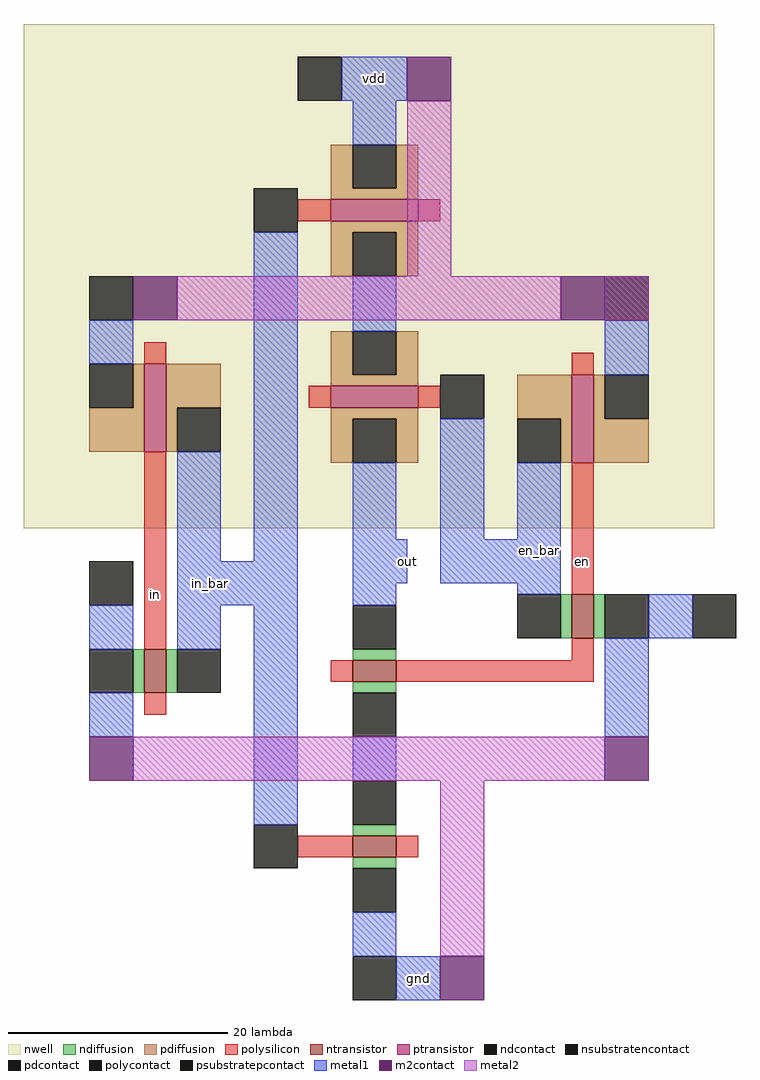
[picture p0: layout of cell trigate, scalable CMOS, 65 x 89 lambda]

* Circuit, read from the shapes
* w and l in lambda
.subckt trigate en en_bar gnd in in_bar out vdd
M1 in_bar in gnd gnd nfet w=4 l=2
M2 n1 in_bar gnd gnd nfet w=4 l=2
M3 out en n1 gnd nfet w=4 l=2
M4 gnd en en_bar gnd nfet w=4 l=2
M5 in_bar in vdd vdd pfet w=8 l=2
M6 n2 en_bar out vdd pfet w=8 l=2
M7 vdd in_bar n2 vdd pfet w=8 l=2
M8 vdd en en_bar vdd pfet w=8 l=2
.ends

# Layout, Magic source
magic
tech scmos
<< nwell >>
rect 1 -24 64 22
<< ntransistor >>
rect 51 -34 53 -30
rect 12 -39 14 -35
rect 31 -38 35 -36
rect 31 -54 35 -52
<< ptransistor >>
rect 29 4 37 6
rect 12 -17 14 -9
rect 29 -13 37 -11
rect 51 -18 53 -10
<< ndiffusion >>
rect 50 -34 51 -30
rect 53 -34 54 -30
rect 11 -39 12 -35
rect 14 -39 15 -35
rect 31 -36 35 -35
rect 31 -39 35 -38
rect 31 -52 35 -51
rect 31 -55 35 -54
<< pdiffusion >>
rect 29 7 31 11
rect 35 7 37 11
rect 29 6 37 7
rect 29 3 37 4
rect 29 -1 31 3
rect 35 -1 37 3
rect 11 -13 12 -9
rect 7 -17 12 -13
rect 14 -13 19 -9
rect 29 -10 31 -6
rect 35 -10 37 -6
rect 29 -11 37 -10
rect 14 -17 15 -13
rect 29 -14 37 -13
rect 46 -14 51 -10
rect 29 -18 31 -14
rect 35 -18 37 -14
rect 50 -18 51 -14
rect 53 -14 54 -10
rect 53 -18 58 -14
<< ndcontact >>
rect 31 -35 35 -31
rect 46 -34 50 -30
rect 54 -34 58 -30
rect 7 -39 11 -35
rect 15 -39 19 -35
rect 31 -43 35 -39
rect 31 -51 35 -47
rect 31 -59 35 -55
<< pdcontact >>
rect 31 7 35 11
rect 31 -1 35 3
rect 7 -13 11 -9
rect 31 -10 35 -6
rect 15 -17 19 -13
rect 31 -18 35 -14
rect 46 -18 50 -14
rect 54 -14 58 -10
<< psubstratepcontact >>
rect 7 -31 11 -27
rect 62 -34 66 -30
rect 31 -67 35 -63
<< nsubstratencontact >>
rect 26 15 30 19
rect 7 -5 11 -1
rect 54 -5 58 -1
<< polysilicon >>
rect 26 4 29 6
rect 37 4 39 6
rect 12 -9 14 -7
rect 51 -10 53 -8
rect 27 -13 29 -11
rect 37 -13 39 -11
rect 12 -35 14 -17
rect 51 -30 53 -18
rect 51 -36 53 -34
rect 29 -38 31 -36
rect 35 -38 53 -36
rect 12 -41 14 -39
rect 26 -54 31 -52
rect 35 -54 37 -52
<< polycontact >>
rect 22 3 26 7
rect 39 -14 43 -10
rect 22 -55 26 -51
<< metal1 >>
rect 30 15 36 19
rect 31 11 35 15
rect 7 -9 11 -5
rect 15 -27 19 -17
rect 22 -27 26 3
rect 31 -6 35 -1
rect 54 -10 58 -5
rect 7 -35 11 -31
rect 15 -31 26 -27
rect 15 -35 19 -31
rect 7 -43 11 -39
rect 22 -51 26 -31
rect 31 -25 35 -18
rect 39 -25 43 -14
rect 46 -25 50 -18
rect 31 -29 36 -25
rect 39 -29 50 -25
rect 31 -31 35 -29
rect 46 -30 50 -29
rect 58 -34 62 -30
rect 31 -47 35 -43
rect 54 -43 58 -34
rect 31 -63 35 -59
rect 35 -67 39 -63
<< m2contact >>
rect 36 15 40 19
rect 11 -5 15 -1
rect 50 -5 54 -1
rect 7 -47 11 -43
rect 54 -47 58 -43
rect 39 -67 43 -63
<< metal2 >>
rect 36 -1 40 15
rect 15 -5 50 -1
rect 54 -5 58 -1
rect 11 -47 54 -43
rect 39 -63 43 -47
<< labels >>
rlabel metal1 36 -29 36 -25 1 out
rlabel metal1 33 17 33 17 5 vdd
rlabel polysilicon 13 -30 13 -30 1 in
rlabel metal1 18 -29 18 -29 1 in_bar
rlabel metal1 37 -65 37 -65 1 gnd
rlabel metal1 48 -26 48 -26 1 en_bar
rlabel polysilicon 52 -27 52 -27 1 en
<< end >>
